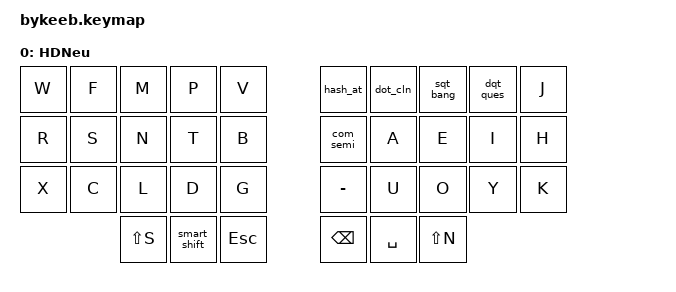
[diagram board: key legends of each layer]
/*
 * Copyright (c) 2025 Allister MacLeod
 *
 * SPDX-License-Identifier: MIT
 */

#include <behaviors.dtsi>
#include <dt-bindings/zmk/bt.h>
#include <dt-bindings/zmk/keys.h>

#include "zmk-helpers/helper.h"
#include "zmk-helpers/key-labels/36.h"

#include <behaviors/num_word.dtsi>

/ {
  keymap {
    compatible = "zmk,keymap";
    hands_down_neu_layer {
// ,-----------------------------.               ,-----------------------------.
// |  W  |  F  |  M  |  P  |  V  |               | # @ | . : | ' ! | " ? |  J  |
// |  R  |  S  |  N  |  T  |  B  |               | , ; |  A  |  E  |  I  |  H  |
// |  X  |  C  |  L  |  D  |  G  |-----.   ,-----|  -  |  U  |  O  |  Y  |  K  |
// `-----------------| SYM |Shift| Esc |   |Bksp | Spc | NAV |-----------------'
      bindings = <
&kp W &kp F &kp M &kp P &kp V                &hash_at  &dot_cln &sqt_bang &dqt_ques &kp J
&kp R &kp S &kp N &kp T &kp B                &com_semi &kp A    &kp E     &kp I     &kp H
&kp X &kp C &kp L &kp D &kp G                &kp MINUS &kp U    &kp O     &kp Y     &kp K
           &kp LS(S) &smart_shift &kp ESC   &kp BACKSPACE &kp SPACE &kp LS(N)
      >;
      display-name = "HDNeu";
    };
  };

  behaviors {
    // Symbol morphs for non-conventional shifting.
    hash_at: morph_octothorpe_amphora {
      compatible = "zmk,behavior-mod-morph";
      #binding-cells = <0>;
      bindings = <&kp HASH>, <&kp AT>;
      mods = <(MOD_LSFT|MOD_RSFT)>;
    };
    dot_cln: morph_period_colon {
      compatible = "zmk,behavior-mod-morph";
      #binding-cells = <0>;
      bindings = <&kp DOT>, <&kp COLON>;
      mods = <(MOD_LSFT|MOD_RSFT)>;
    };
    sqt_bang: morph_apostrophe_exclamation {
      compatible = "zmk,behavior-mod-morph";
      #binding-cells = <0>;
      bindings = <&kp SQT>, <&kp EXCL>;
      mods = <(MOD_LSFT|MOD_RSFT)>;
    };
    dqt_ques: morph_quote_question {
      compatible = "zmk,behavior-mod-morph";
      #binding-cells = <0>;
      bindings = <&kp DQT>, <&kp QMARK>;
      mods = <(MOD_LSFT|MOD_RSFT)>;
    };
    com_semi: morph_comma_semicolon {
      compatible = "zmk,behavior-mod-morph";
      #binding-cells = <0>;
      bindings = <&kp COMMA>, <&kp SEMICOLON>;
      mods = <(MOD_LSFT|MOD_RSFT)>;
    };
    slashes: morph_slash_backslash {
      compatible = "zmk,behavior-mod-morph";
      #binding-cells = <0>;
      bindings = <&kp SLASH>, <&kp BACKSLASH>;
      mods = <(MOD_LSFT|MOD_RSFT)>;
    };
    // Morph for smart-shift inspired by urob.
    smart_shift: morph_smart_shift {
      compatible = "zmk,behavior-mod-morph";
      #binding-cells = <0>;
      bindings = <&sk LSHIFT>, <&caps_word>;
      mods = <(MOD_LSFT)>;
    };
  };
};
